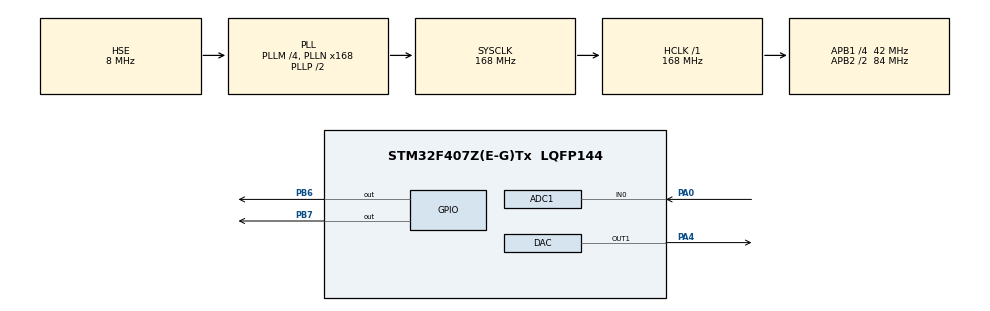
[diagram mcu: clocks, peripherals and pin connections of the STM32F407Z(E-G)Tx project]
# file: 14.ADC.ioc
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ADC1.Channel-2\#ChannelRegularConversion=ADC_CHANNEL_0
ADC1.NbrOfConversionFlag=1
ADC1.Rank-2\#ChannelRegularConversion=1
ADC1.SamplingTime-2\#ChannelRegularConversion=ADC_SAMPLETIME_3CYCLES
ADC1.master=1
Mcu.Family=STM32F4
Mcu.Name=STM32F407Z(E-G)Tx
Mcu.Package=LQFP144
NVIC.PriorityGroup=NVIC_PRIORITYGROUP_4
PA0-WKUP.Signal=ADCx_IN0
PA13.Mode=Serial_Wire
PA13.Signal=SYS_JTMS-SWDIO
PA14.Mode=Serial_Wire
PA14.Signal=SYS_JTCK-SWCLK
PA4.Signal=COMP_DAC1_group
PB6.GPIO_ModeDefaultOutputPP=GPIO_MODE_OUTPUT_OD
PB6.GPIO_PuPd=GPIO_PULLUP
PB6.GPIO_Speed=GPIO_SPEED_FREQ_VERY_HIGH
PB6.PinState=GPIO_PIN_SET
PB6.Signal=GPIO_Output
PB7.GPIO_ModeDefaultOutputPP=GPIO_MODE_OUTPUT_OD
PB7.GPIO_PuPd=GPIO_PULLUP
PB7.GPIO_Speed=GPIO_SPEED_FREQ_VERY_HIGH
PB7.PinState=GPIO_PIN_SET
PB7.Signal=GPIO_Output
PH0-OSC_IN.Mode=HSE-External-Oscillator
PH0-OSC_IN.Signal=RCC_OSC_IN
PH1-OSC_OUT.Mode=HSE-External-Oscillator
PH1-OSC_OUT.Signal=RCC_OSC_OUT
ProjectManager.HeapSize=0x200
ProjectManager.StackSize=0x400
ProjectManager.TargetToolchain=MDK-ARM V5.32
RCC.48MHZClocksFreq_Value=84000000
RCC.AHBFreq_Value=168000000
RCC.APB1CLKDivider=RCC_HCLK_DIV4
RCC.APB1Freq_Value=42000000
RCC.APB1TimFreq_Value=84000000
RCC.APB2CLKDivider=RCC_HCLK_DIV2
RCC.APB2Freq_Value=84000000
RCC.APB2TimFreq_Value=168000000
RCC.CortexFreq_Value=168000000
RCC.HCLKFreq_Value=168000000
RCC.HSE_VALUE=8000000
RCC.HSI_VALUE=16000000
RCC.LSE_VALUE=32768
RCC.PLLM=4
RCC.PLLN=168
RCC.PLLSourceVirtual=RCC_PLLSOURCE_HSE
RCC.SYSCLKFreq_VALUE=168000000
RCC.SYSCLKSource=RCC_SYSCLKSOURCE_PLLCLK
RCC.VCOOutputFreq_Value=336000000
SH.ADCx_IN0.0=ADC1_IN0,IN0
SH.COMP_DAC1_group.0=DAC_OUT1,DAC_OUT1
board=custom

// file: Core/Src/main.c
/* USER CODE BEGIN Header */
/**
  ******************************************************************************
  * @file           : main.c
  * @brief          : Main program body
  ******************************************************************************
  * @attention
  *
  * Copyright (c) 2024 STMicroelectronics.
  * All rights reserved.
  *
  * This software is licensed under terms that can be found in the LICENSE file
  * in the root directory of this software component.
  * If no LICENSE file comes with this software, it is provided AS-IS.
  *
  ******************************************************************************
  */
/* USER CODE END Header */
#include "main.h"
#include "adc.h"
#include "dac.h"
#include "gpio.h"

/* USER CODE BEGIN Includes */
#include "oled.h"
#include "stdio.h"

/* USER CODE END Includes */

void SystemClock_Config(void);

int main(void)
{

  /* MCU Configuration--------------------------------------------------------*/

  /* Reset of all peripherals, Initializes the Flash interface and the Systick. */
  HAL_Init();

  /* Configure the system clock */
  SystemClock_Config();

  /* Initialize all configured peripherals */
  MX_GPIO_Init();
  MX_ADC1_Init();
  MX_DAC_Init();
  /* USER CODE BEGIN 2 */
  OLED_Init();
  OLED_Clear();
	  OLED_ShowChinese(0,0,0,16,1);
	  OLED_ShowChinese(16,0,1,16,1);
	  OLED_ShowChinese(32,0,2,16,1);
	  OLED_ShowChinese(48,0,3,16,1);
	  OLED_ShowChinese(64,0,4,16,1);
	  OLED_ShowChinese(80,0,5,16,1);
	  OLED_ShowChinese(96,0,6,16,1);
	  OLED_ShowChinese(112,0,7,16,1);

	  OLED_ShowChinese(0,16,0,16,0);
	  OLED_ShowChinese(16,16,1,16,0);
	  OLED_ShowChinese(32,16,2,16,0);
	  OLED_ShowChinese(48,16,3,16,0);
	  OLED_ShowChinese(64,16,4,16,0);
	  OLED_ShowChinese(80,16,5,16,0);
	  OLED_ShowChinese(96,16,6,16,0);
	  OLED_ShowChinese(112,16,7,16,0);

	        OLED_Refresh();
	char XingChen [30] ={0};

   HAL_DAC_Start(&hdac,DAC_CHANNEL_1);
	unsigned int dac;
  /* USER CODE END 2 */

  /* Infinite loop */
  while (1)
  {

    /* USER CODE BEGIN 3 */

	  dac=2000;//��Χ0-4096
	  HAL_DAC_SetValue(&hdac,DAC_CHANNEL_1,DAC_ALIGN_12B_R,dac);
	  	 sprintf (XingChen,"DAC:%.2f",(double)dac/4096*3.3);
	   OLED_ShowString(L_X1,H_Y4,(unsigned char *)XingChen,16,1);

	  sprintf (XingChen,"ADC:%.2f",getADC(&hadc1));
	   OLED_ShowString(L_X1,H_Y3,(unsigned char *)XingChen,16,1);
	  OLED_Refresh();
  }
  /* USER CODE END 3 */
}

void SystemClock_Config(void)
{
  RCC_OscInitTypeDef RCC_OscInitStruct = {0};
  RCC_ClkInitTypeDef RCC_ClkInitStruct = {0};

  /** Configure the main internal regulator output voltage
  */
  __HAL_RCC_PWR_CLK_ENABLE();
  __HAL_PWR_VOLTAGESCALING_CONFIG(PWR_REGULATOR_VOLTAGE_SCALE1);

  /** Initializes the RCC Oscillators according to the specified parameters
  * in the RCC_OscInitTypeDef structure.
  */
  RCC_OscInitStruct.OscillatorType = RCC_OSCILLATORTYPE_HSE;
  RCC_OscInitStruct.HSEState = RCC_HSE_ON;
  RCC_OscInitStruct.PLL.PLLState = RCC_PLL_ON;
  RCC_OscInitStruct.PLL.PLLSource = RCC_PLLSOURCE_HSE;
  RCC_OscInitStruct.PLL.PLLM = 4;
  RCC_OscInitStruct.PLL.PLLN = 168;
  RCC_OscInitStruct.PLL.PLLP = RCC_PLLP_DIV2;
  RCC_OscInitStruct.PLL.PLLQ = 4;
  if (HAL_RCC_OscConfig(&RCC_OscInitStruct) != HAL_OK)
  {
    Error_Handler();
  }

  /** Initializes the CPU, AHB and APB buses clocks
  */
  RCC_ClkInitStruct.ClockType = RCC_CLOCKTYPE_HCLK|RCC_CLOCKTYPE_SYSCLK
                              |RCC_CLOCKTYPE_PCLK1|RCC_CLOCKTYPE_PCLK2;
  RCC_ClkInitStruct.SYSCLKSource = RCC_SYSCLKSOURCE_PLLCLK;
  RCC_ClkInitStruct.AHBCLKDivider = RCC_SYSCLK_DIV1;
  RCC_ClkInitStruct.APB1CLKDivider = RCC_HCLK_DIV4;
  RCC_ClkInitStruct.APB2CLKDivider = RCC_HCLK_DIV2;

  if (HAL_RCC_ClockConfig(&RCC_ClkInitStruct, FLASH_LATENCY_5) != HAL_OK)
  {
    Error_Handler();
  }
}

void Error_Handler(void)
{
  __disable_irq();
  while (1)
  {
  }
}
